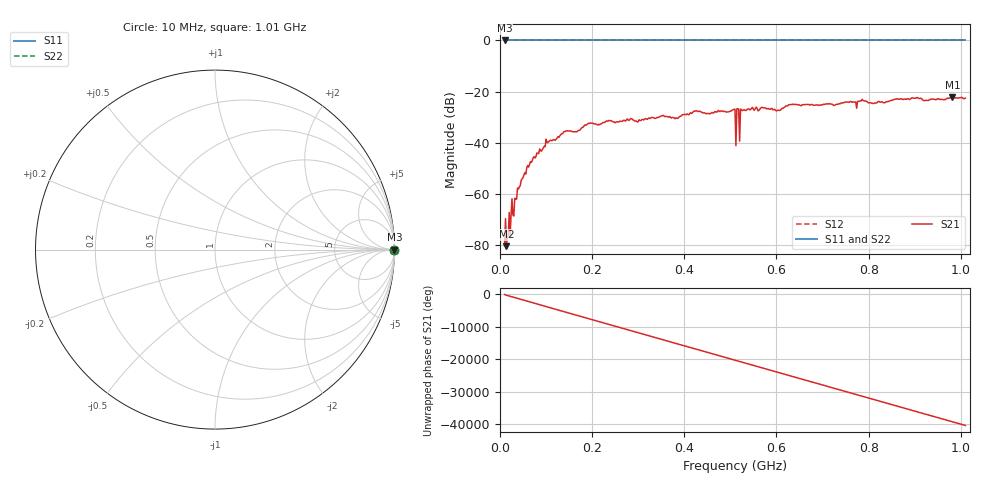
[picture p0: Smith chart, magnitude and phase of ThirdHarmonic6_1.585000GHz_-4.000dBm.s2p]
! 8/16/2025 6:52:05 PM
! C:\ANRITSUVNA\TEMP\TEMP.S2P
! CHANNEL.1
! TR.MEASUREMENT
! RAW.DATA
! RF.CORRECTION.OFF
! AVERAGING.OFF
! IF.BANDWIDTH: 5KHZ
! SWEEPTYPE:  FREQ.SWEEP(Linear)
! Reference Plane Port Info
! PORT:  PORT1  PORT2
! DISTANCE:  0  m  0  m
! TIME:  0  s  0  s
! PHASE.OFFSET:  0  deg.  0  deg.
! LOSS:  0  dB  0  dB
! REF.LOSS:  0  dB  0  dB
! REF.FREQ:  0  Hz  0  Hz
! Power Info
! POWER:  -20  dBm  -20  dBm
! EFF.POWER:  -20  dBm  -20  dBm
! SOURCE.ATTEN:  0  dB  0  dB
! TEST.ATTEN:  0  dB  0  dB
# GHZ S RI R 50.0
! FREQ.GHZ  S11RE  S11IM  S21RE  S21IM  S12RE  S12IM  S22RE  S22IM
!; PortSelection: Port_12
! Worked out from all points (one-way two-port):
!   501 points, 10 MHz to 1.01 GHz, reference 50 ohm
!   highest |S21| = -22.07 dB at 982 MHz (marker M1); lowest = -80.4 dB at 14 MHz (marker M2)
!   lowest |S11| = 0.0 dB at 10 MHz (marker M3)
!   |S11| at or under -10 dB: nowhere
!   |S22| runs from 0.0 to 0.0 dB; largest |S21 - S12| = 1.1
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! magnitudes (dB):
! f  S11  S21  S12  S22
! 10 MHz  0.0  -80.1  0.0  0.0
! 14 MHz  0.0  -80.4  0.0  0.0
! 16 MHz  0.0  -76.7  0.0  0.0
! 18 MHz  0.0  -76.1  0.0  0.0
! 24 MHz  0.0  -68.3  0.0  0.0
! 26 MHz  0.0  -61.8  0.0  0.0
! 42 MHz  0.0  -57.2  0.0  0.0
! 70 MHz  0.0  -47.0  0.0  0.0
! 104 MHz  0.0  -39.8  0.0  0.0
! 178 MHz  0.0  -34.0  0.0  0.0
! 344 MHz  0.0  -30.1  0.0  0.0
! 506 MHz  0.0  -27.0  0.0  0.0
! 510 MHz  0.0  -26.9  0.0  0.0
! 514 MHz  0.0  -26.7  0.0  0.0
! 516 MHz  0.0  -26.6  0.0  0.0
! 518 MHz  0.0  -26.9  0.0  0.0
! 524 MHz  0.0  -27.1  0.0  0.0
! 526 MHz  0.0  -27.4  0.0  0.0
! 678 MHz  0.0  -25.2  0.0  0.0
! 844 MHz  0.0  -23.8  0.0  0.0
! 982 MHz  0.0  -22.1  0.0  0.0
! 1.01 GHz  0.0  -22.5  0.0  0.0
